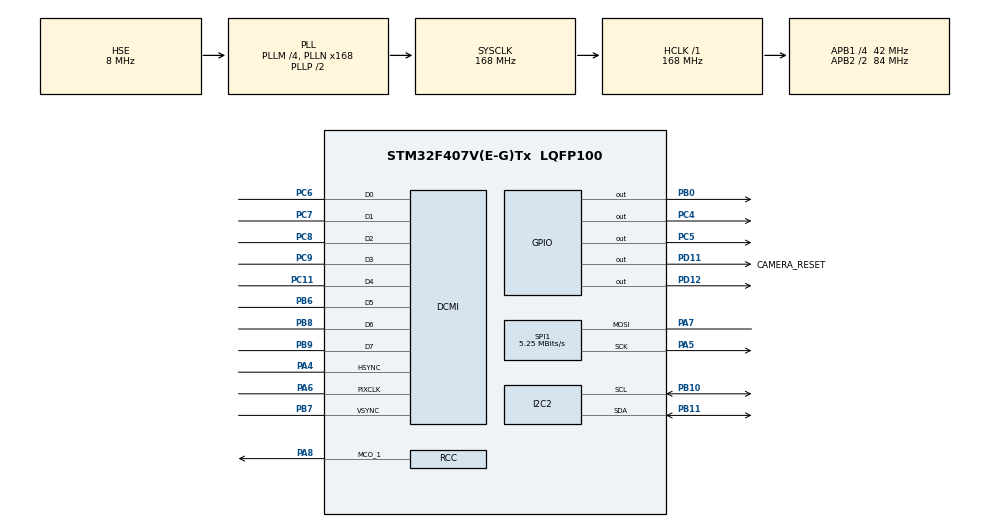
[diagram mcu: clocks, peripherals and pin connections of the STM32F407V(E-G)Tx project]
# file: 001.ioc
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DCMI.PCKPolarity=DCMI_PCKPOLARITY_RISING
DCMI.VSPolarity=DCMI_VSPOLARITY_HIGH
Dma.DCMI.0.Direction=DMA_PERIPH_TO_MEMORY
Dma.DCMI.0.FIFOMode=DMA_FIFOMODE_DISABLE
Dma.DCMI.0.Instance=DMA2_Stream1
Dma.DCMI.0.MemDataAlignment=DMA_MDATAALIGN_WORD
Dma.DCMI.0.MemInc=DMA_MINC_ENABLE
Dma.DCMI.0.Mode=DMA_NORMAL
Dma.DCMI.0.PeriphDataAlignment=DMA_PDATAALIGN_WORD
Dma.DCMI.0.PeriphInc=DMA_PINC_DISABLE
Dma.DCMI.0.Priority=DMA_PRIORITY_LOW
Dma.Request0=DCMI
Mcu.Family=STM32F4
Mcu.Name=STM32F407V(E-G)Tx
Mcu.Package=LQFP100
NVIC.DCMI_IRQn=true\:0\:0\:false\:false\:true\:true\:true\:true
NVIC.DMA2_Stream1_IRQn=true\:0\:0\:false\:false\:true\:false\:true\:true
NVIC.PriorityGroup=NVIC_PRIORITYGROUP_0
PA13.Mode=Serial_Wire
PA13.Signal=SYS_JTMS-SWDIO
PA14.Mode=Serial_Wire
PA14.Signal=SYS_JTCK-SWCLK
PA4.GPIO_PuPd=GPIO_PULLDOWN
PA4.GPIO_Speed=GPIO_SPEED_FREQ_VERY_HIGH
PA4.Mode=Slave_8_bits_External_Synchro
PA4.Signal=DCMI_HSYNC
PA5.Mode=Simplex_Bidirectional_Master
PA5.Signal=SPI1_SCK
PA6.GPIO_PuPd=GPIO_PULLDOWN
PA6.GPIO_Speed=GPIO_SPEED_FREQ_VERY_HIGH
PA6.Mode=Slave_8_bits_External_Synchro
PA6.Signal=DCMI_PIXCLK
PA7.Mode=Simplex_Bidirectional_Master
PA7.Signal=SPI1_MOSI
PA8.GPIO_Speed=GPIO_SPEED_FREQ_VERY_HIGH
PA8.Mode=Clock-out-1
PA8.Signal=RCC_MCO_1
PB0.Signal=GPIO_Output
PB10.GPIO_Pu=GPIO_PULLUP
PB10.Mode=I2C
PB10.Signal=I2C2_SCL
PB11.GPIO_Pu=GPIO_PULLUP
PB11.Mode=I2C
PB11.Signal=I2C2_SDA
PB6.GPIO_PuPd=GPIO_PULLDOWN
PB6.GPIO_Speed=GPIO_SPEED_FREQ_VERY_HIGH
PB6.Mode=Slave_8_bits_External_Synchro
PB6.Signal=DCMI_D5
PB7.GPIO_PuPd=GPIO_PULLDOWN
PB7.GPIO_Speed=GPIO_SPEED_FREQ_VERY_HIGH
PB7.Mode=Slave_8_bits_External_Synchro
PB7.Signal=DCMI_VSYNC
PB8.GPIO_PuPd=GPIO_PULLDOWN
PB8.GPIO_Speed=GPIO_SPEED_FREQ_VERY_HIGH
PB8.Mode=Slave_8_bits_External_Synchro
PB8.Signal=DCMI_D6
PB9.GPIO_PuPd=GPIO_PULLDOWN
PB9.GPIO_Speed=GPIO_SPEED_FREQ_VERY_HIGH
PB9.Mode=Slave_8_bits_External_Synchro
PB9.Signal=DCMI_D7
PC11.GPIO_PuPd=GPIO_PULLDOWN
PC11.GPIO_Speed=GPIO_SPEED_FREQ_VERY_HIGH
PC11.Mode=Slave_8_bits_External_Synchro
PC11.Signal=DCMI_D4
PC4.Signal=GPIO_Output
PC5.Signal=GPIO_Output
PC6.GPIO_PuPd=GPIO_PULLDOWN
PC6.GPIO_Speed=GPIO_SPEED_FREQ_VERY_HIGH
PC6.Mode=Slave_8_bits_External_Synchro
PC6.Signal=DCMI_D0
PC7.GPIO_PuPd=GPIO_PULLDOWN
PC7.GPIO_Speed=GPIO_SPEED_FREQ_VERY_HIGH
PC7.Mode=Slave_8_bits_External_Synchro
PC7.Signal=DCMI_D1
PC8.GPIO_PuPd=GPIO_PULLDOWN
PC8.GPIO_Speed=GPIO_SPEED_FREQ_VERY_HIGH
PC8.Mode=Slave_8_bits_External_Synchro
PC8.Signal=DCMI_D2
PC9.GPIO_PuPd=GPIO_PULLDOWN
PC9.GPIO_Speed=GPIO_SPEED_FREQ_VERY_HIGH
PC9.Mode=Slave_8_bits_External_Synchro
PC9.Signal=DCMI_D3
PD11.GPIO_Label=CAMERA_RESET
PD11.Signal=GPIO_Output
PD12.Signal=GPIO_Output
PH0-OSC_IN.Mode=HSE-External-Oscillator
PH0-OSC_IN.Signal=RCC_OSC_IN
PH1-OSC_OUT.Mode=HSE-External-Oscillator
PH1-OSC_OUT.Signal=RCC_OSC_OUT
ProjectManager.HeapSize=0x200
ProjectManager.StackSize=0x400
ProjectManager.TargetToolchain=STM32CubeIDE
RCC.48MHZClocksFreq_Value=48000000
RCC.AHBFreq_Value=168000000
RCC.APB1CLKDivider=RCC_HCLK_DIV4
RCC.APB1Freq_Value=42000000
RCC.APB1TimFreq_Value=84000000
RCC.APB2CLKDivider=RCC_HCLK_DIV2
RCC.APB2Freq_Value=84000000
RCC.APB2TimFreq_Value=168000000
RCC.CortexFreq_Value=168000000
RCC.HCLKFreq_Value=168000000
RCC.HSE_VALUE=8000000
RCC.HSI_VALUE=16000000
RCC.LSE_VALUE=32768
RCC.PLLM=4
RCC.PLLN=168
RCC.PLLQ=7
RCC.PLLSourceVirtual=RCC_PLLSOURCE_HSE
RCC.RCC_MCO1Source=RCC_MCO1SOURCE_HSE
RCC.SYSCLKFreq_VALUE=168000000
RCC.SYSCLKSource=RCC_SYSCLKSOURCE_PLLCLK
RCC.VCOOutputFreq_Value=336000000
SPI1.BaudRatePrescaler=SPI_BAUDRATEPRESCALER_16
SPI1.CalculateBaudRate=5.25 MBits/s
SPI1.Direction=SPI_DIRECTION_1LINE
SPI1.Mode=SPI_MODE_MASTER
SPI1.VirtualType=VM_MASTER
board=STM32F407G-DISC1

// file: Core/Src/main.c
/* USER CODE BEGIN Header */
/**
  ******************************************************************************
  * @file           : main.c
  * @brief          : Main program body
  ******************************************************************************
  * @attention
  *
  * Copyright (c) 2025 STMicroelectronics.
  * All rights reserved.
  *
  * This software is licensed under terms that can be found in the LICENSE file
  * in the root directory of this software component.
  * If no LICENSE file comes with this software, it is provided AS-IS.
  *
  ******************************************************************************
  */
/* USER CODE END Header */
#include "main.h"

/* USER CODE BEGIN Includes */
#include "common.h"
#include "ov7670.h"
#include "st7735.h"
/* USER CODE END Includes */

DCMI_HandleTypeDef hdcmi;
DMA_HandleTypeDef hdma_dcmi;

I2C_HandleTypeDef hi2c2;

SPI_HandleTypeDef hspi1;

/* USER CODE BEGIN PV */
#define MAX_PICTURE_BUFF     19200
uint16_t pBuffer[MAX_PICTURE_BUFF];
/* USER CODE END PV */

void SystemClock_Config(void);
static void MX_GPIO_Init(void);
static void MX_DMA_Init(void);
static void MX_DCMI_Init(void);
static void MX_I2C2_Init(void);
static void MX_SPI1_Init(void);

int main(void)
{

  /* MCU Configuration--------------------------------------------------------*/

  /* Reset of all peripherals, Initializes the Flash interface and the Systick. */
  HAL_Init();

  /* Configure the system clock */
  SystemClock_Config();

  /* Initialize all configured peripherals */
  MX_GPIO_Init();
  MX_DMA_Init();
  MX_DCMI_Init();
  MX_I2C2_Init();
  MX_SPI1_Init();
  /* USER CODE BEGIN 2 */
  ST7735_Init();
  ST7735_FillScreen(ST7735_BLACK);
  ST7735_FillRectangle(0, 0, 40, 140, ST7735_BLUE); // Test the display
  HAL_Delay(1000);
  HAL_GPIO_WritePin(GPIOD, GPIO_PIN_12, GPIO_PIN_RESET); //Camera PWDN to GND
  ov7670_init(&hdcmi, &hdma_dcmi, &hi2c2);
  ov7670_config(OV7670_MODE_QVGA_RGB565);
  ov7670_stopCap();
  /* USER CODE END 2 */

  /* Infinite loop */
  /* USER CODE BEGIN WHILE */
  while (1)
  {
	    HAL_DCMI_Start_DMA(&hdcmi, DCMI_MODE_SNAPSHOT, pBuffer, MAX_PICTURE_BUFF/2);
	    HAL_Delay(100);  //Wait for DMA to complete
	    // picture pBuffer size 120*160=19200 is now available, we can transmit
	    // or display in lcd as shown below
	    int pixel = 0;
	    for( int x = 0; x < 120; x++ )
	    {
	      for( int y = 159; y > -1; y-- )
	      {
	        ST7735_DrawPixel(x, y, pBuffer[pixel]);
	        pixel++;
	      }
	    }
    /* USER CODE END WHILE */

  }
}

void SystemClock_Config(void)
{
  RCC_OscInitTypeDef RCC_OscInitStruct = {0};
  RCC_ClkInitTypeDef RCC_ClkInitStruct = {0};

  /** Configure the main internal regulator output voltage
  */
  __HAL_RCC_PWR_CLK_ENABLE();
  __HAL_PWR_VOLTAGESCALING_CONFIG(PWR_REGULATOR_VOLTAGE_SCALE1);

  /** Initializes the RCC Oscillators according to the specified parameters
  * in the RCC_OscInitTypeDef structure.
  */
  RCC_OscInitStruct.OscillatorType = RCC_OSCILLATORTYPE_HSE;
  RCC_OscInitStruct.HSEState = RCC_HSE_ON;
  RCC_OscInitStruct.PLL.PLLState = RCC_PLL_ON;
  RCC_OscInitStruct.PLL.PLLSource = RCC_PLLSOURCE_HSE;
  RCC_OscInitStruct.PLL.PLLM = 4;
  RCC_OscInitStruct.PLL.PLLN = 168;
  RCC_OscInitStruct.PLL.PLLP = RCC_PLLP_DIV2;
  RCC_OscInitStruct.PLL.PLLQ = 7;
  if (HAL_RCC_OscConfig(&RCC_OscInitStruct) != HAL_OK)
  {
    Error_Handler();
  }

  /** Initializes the CPU, AHB and APB buses clocks
  */
  RCC_ClkInitStruct.ClockType = RCC_CLOCKTYPE_HCLK|RCC_CLOCKTYPE_SYSCLK
                              |RCC_CLOCKTYPE_PCLK1|RCC_CLOCKTYPE_PCLK2;
  RCC_ClkInitStruct.SYSCLKSource = RCC_SYSCLKSOURCE_PLLCLK;
  RCC_ClkInitStruct.AHBCLKDivider = RCC_SYSCLK_DIV1;
  RCC_ClkInitStruct.APB1CLKDivider = RCC_HCLK_DIV4;
  RCC_ClkInitStruct.APB2CLKDivider = RCC_HCLK_DIV2;

  if (HAL_RCC_ClockConfig(&RCC_ClkInitStruct, FLASH_LATENCY_5) != HAL_OK)
  {
    Error_Handler();
  }
  HAL_RCC_MCOConfig(RCC_MCO1, RCC_MCO1SOURCE_HSE, RCC_MCODIV_1);
}

static void MX_DCMI_Init(void)
{

  hdcmi.Instance = DCMI;
  hdcmi.Init.SynchroMode = DCMI_SYNCHRO_HARDWARE;
  hdcmi.Init.PCKPolarity = DCMI_PCKPOLARITY_RISING;
  hdcmi.Init.VSPolarity = DCMI_VSPOLARITY_HIGH;
  hdcmi.Init.HSPolarity = DCMI_HSPOLARITY_LOW;
  hdcmi.Init.CaptureRate = DCMI_CR_ALL_FRAME;
  hdcmi.Init.ExtendedDataMode = DCMI_EXTEND_DATA_8B;
  hdcmi.Init.JPEGMode = DCMI_JPEG_DISABLE;
  if (HAL_DCMI_Init(&hdcmi) != HAL_OK)
  {
    Error_Handler();
  }

}

static void MX_I2C2_Init(void)
{

  hi2c2.Instance = I2C2;
  hi2c2.Init.ClockSpeed = 100000;
  hi2c2.Init.DutyCycle = I2C_DUTYCYCLE_2;
  hi2c2.Init.OwnAddress1 = 0;
  hi2c2.Init.AddressingMode = I2C_ADDRESSINGMODE_7BIT;
  hi2c2.Init.DualAddressMode = I2C_DUALADDRESS_DISABLE;
  hi2c2.Init.OwnAddress2 = 0;
  hi2c2.Init.GeneralCallMode = I2C_GENERALCALL_DISABLE;
  hi2c2.Init.NoStretchMode = I2C_NOSTRETCH_DISABLE;
  if (HAL_I2C_Init(&hi2c2) != HAL_OK)
  {
    Error_Handler();
  }

}

static void MX_SPI1_Init(void)
{

  /* SPI1 parameter configuration*/
  hspi1.Instance = SPI1;
  hspi1.Init.Mode = SPI_MODE_MASTER;
  hspi1.Init.Direction = SPI_DIRECTION_1LINE;
  hspi1.Init.DataSize = SPI_DATASIZE_8BIT;
  hspi1.Init.CLKPolarity = SPI_POLARITY_LOW;
  hspi1.Init.CLKPhase = SPI_PHASE_1EDGE;
  hspi1.Init.NSS = SPI_NSS_SOFT;
  hspi1.Init.BaudRatePrescaler = SPI_BAUDRATEPRESCALER_16;
  hspi1.Init.FirstBit = SPI_FIRSTBIT_MSB;
  hspi1.Init.TIMode = SPI_TIMODE_DISABLE;
  hspi1.Init.CRCCalculation = SPI_CRCCALCULATION_DISABLE;
  hspi1.Init.CRCPolynomial = 10;
  if (HAL_SPI_Init(&hspi1) != HAL_OK)
  {
    Error_Handler();
  }

}

static void MX_DMA_Init(void)
{

  /* DMA controller clock enable */
  __HAL_RCC_DMA2_CLK_ENABLE();

  /* DMA interrupt init */
  /* DMA2_Stream1_IRQn interrupt configuration */
  HAL_NVIC_SetPriority(DMA2_Stream1_IRQn, 0, 0);
  HAL_NVIC_EnableIRQ(DMA2_Stream1_IRQn);

}

static void MX_GPIO_Init(void)
{
  GPIO_InitTypeDef GPIO_InitStruct = {0};

  /* GPIO Ports Clock Enable */
  __HAL_RCC_GPIOH_CLK_ENABLE();
  __HAL_RCC_GPIOA_CLK_ENABLE();
  __HAL_RCC_GPIOC_CLK_ENABLE();
  __HAL_RCC_GPIOB_CLK_ENABLE();
  __HAL_RCC_GPIOD_CLK_ENABLE();

  /*Configure GPIO pin Output Level */
  HAL_GPIO_WritePin(GPIOC, GPIO_PIN_4|GPIO_PIN_5, GPIO_PIN_RESET);

  /*Configure GPIO pin Output Level */
  HAL_GPIO_WritePin(GPIOB, GPIO_PIN_0, GPIO_PIN_RESET);

  /*Configure GPIO pin Output Level */
  HAL_GPIO_WritePin(GPIOD, CAMERA_RESET_Pin|GPIO_PIN_12, GPIO_PIN_RESET);

  /*Configure GPIO pins : PC4 PC5 */
  GPIO_InitStruct.Pin = GPIO_PIN_4|GPIO_PIN_5;
  GPIO_InitStruct.Mode = GPIO_MODE_OUTPUT_PP;
  GPIO_InitStruct.Pull = GPIO_NOPULL;
  GPIO_InitStruct.Speed = GPIO_SPEED_FREQ_LOW;
  HAL_GPIO_Init(GPIOC, &GPIO_InitStruct);

  /*Configure GPIO pin : PB0 */
  GPIO_InitStruct.Pin = GPIO_PIN_0;
  GPIO_InitStruct.Mode = GPIO_MODE_OUTPUT_PP;
  GPIO_InitStruct.Pull = GPIO_NOPULL;
  GPIO_InitStruct.Speed = GPIO_SPEED_FREQ_LOW;
  HAL_GPIO_Init(GPIOB, &GPIO_InitStruct);

  /*Configure GPIO pins : CAMERA_RESET_Pin PD12 */
  GPIO_InitStruct.Pin = CAMERA_RESET_Pin|GPIO_PIN_12;
  GPIO_InitStruct.Mode = GPIO_MODE_OUTPUT_PP;
  GPIO_InitStruct.Pull = GPIO_NOPULL;
  GPIO_InitStruct.Speed = GPIO_SPEED_FREQ_LOW;
  HAL_GPIO_Init(GPIOD, &GPIO_InitStruct);

  /*Configure GPIO pin : PA8 */
  GPIO_InitStruct.Pin = GPIO_PIN_8;
  GPIO_InitStruct.Mode = GPIO_MODE_AF_PP;
  GPIO_InitStruct.Pull = GPIO_NOPULL;
  GPIO_InitStruct.Speed = GPIO_SPEED_FREQ_VERY_HIGH;
  GPIO_InitStruct.Alternate = GPIO_AF0_MCO;
  HAL_GPIO_Init(GPIOA, &GPIO_InitStruct);

}

void Error_Handler(void)
{
  __disable_irq();
  while (1)
  {
  }
}
